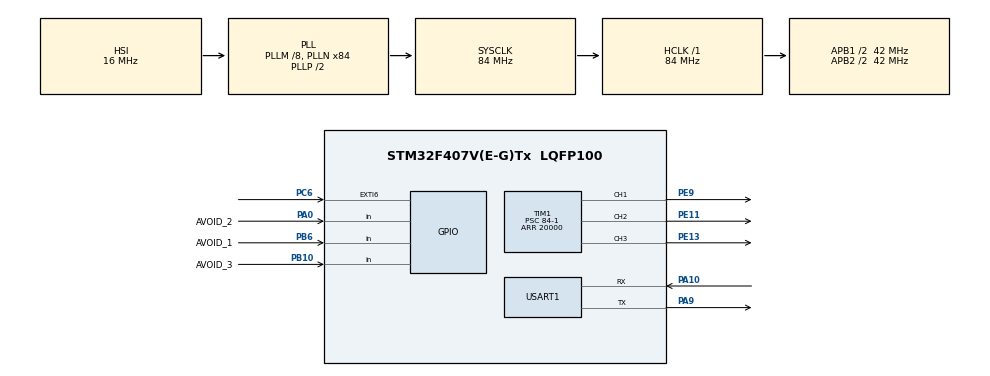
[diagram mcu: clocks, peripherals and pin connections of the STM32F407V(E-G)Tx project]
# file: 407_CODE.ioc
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Mcu.Family=STM32F4
Mcu.Name=STM32F407V(E-G)Tx
Mcu.Package=LQFP100
NVIC.EXTI9_5_IRQn=true\:0\:0\:false\:false\:true\:true\:true
NVIC.PriorityGroup=NVIC_PRIORITYGROUP_4
NVIC.TIM1_CC_IRQn=true\:0\:0\:false\:false\:true\:true\:true
NVIC.TIM1_TRG_COM_TIM11_IRQn=true\:0\:0\:false\:false\:true\:true\:true
NVIC.TIM2_IRQn=true\:0\:0\:false\:false\:true\:true\:true
NVIC.USART1_IRQn=true\:0\:0\:false\:false\:true\:true\:true
PA0-WKUP.GPIO_Label=AVOID_2
PA0-WKUP.GPIO_PuPd=GPIO_NOPULL
PA0-WKUP.Signal=GPIO_Input
PA10.Mode=Asynchronous
PA10.Signal=USART1_RX
PA13.Mode=Serial_Wire
PA13.Signal=SYS_JTMS-SWDIO
PA14.Mode=Serial_Wire
PA14.Signal=SYS_JTCK-SWCLK
PA9.Mode=Asynchronous
PA9.Signal=USART1_TX
PB10.GPIO_Label=AVOID_3
PB10.GPIO_PuPd=GPIO_PULLUP
PB10.Signal=GPIO_Input
PB6.GPIO_Label=AVOID_1
PB6.GPIO_PuPd=GPIO_PULLDOWN
PB6.Signal=GPIO_Input
PC6.GPIO_PuPd=GPIO_PULLDOWN
PC6.Signal=GPXTI6
PE11.Signal=S_TIM1_CH2
PE13.Signal=S_TIM1_CH3
PE9.Signal=S_TIM1_CH1
PH0-OSC_IN.Mode=HSE-External-Oscillator
PH0-OSC_IN.Signal=RCC_OSC_IN
PH1-OSC_OUT.Mode=HSE-External-Oscillator
PH1-OSC_OUT.Signal=RCC_OSC_OUT
ProjectManager.HeapSize=0x200
ProjectManager.StackSize=0x400
ProjectManager.TargetToolchain=MDK-ARM V5.27
RCC.48MHZClocksFreq_Value=42000000
RCC.AHBFreq_Value=84000000
RCC.APB1CLKDivider=RCC_HCLK_DIV2
RCC.APB1Freq_Value=42000000
RCC.APB1TimFreq_Value=84000000
RCC.APB2CLKDivider=RCC_HCLK_DIV2
RCC.APB2Freq_Value=42000000
RCC.APB2TimFreq_Value=84000000
RCC.CortexFreq_Value=84000000
RCC.HCLKFreq_Value=84000000
RCC.HSE_VALUE=8000000
RCC.HSI_VALUE=16000000
RCC.LSE_VALUE=32768
RCC.PLLM=8
RCC.PLLN=84
RCC.SYSCLKFreq_VALUE=84000000
RCC.SYSCLKSource=RCC_SYSCLKSOURCE_PLLCLK
RCC.VCOOutputFreq_Value=168000000
SH.S_TIM1_CH1.0=TIM1_CH1,PWM Generation1 CH1
SH.S_TIM1_CH2.0=TIM1_CH2,PWM Generation2 CH2
SH.S_TIM1_CH3.0=TIM1_CH3,PWM Generation3 CH3
TIM1.AutoReloadPreload=TIM_AUTORELOAD_PRELOAD_ENABLE
TIM1.Channel-PWM\ Generation1\ CH1=TIM_CHANNEL_1
TIM1.Channel-PWM\ Generation2\ CH2=TIM_CHANNEL_2
TIM1.Channel-PWM\ Generation3\ CH3=TIM_CHANNEL_3
TIM1.Period=20000
TIM1.Prescaler=84-1
TIM1.Pulse-PWM\ Generation1\ CH1=1500
TIM1.Pulse-PWM\ Generation2\ CH2=1500
TIM1.Pulse-PWM\ Generation3\ CH3=1500
TIM2.AutoReloadPreload=TIM_AUTORELOAD_PRELOAD_ENABLE
TIM2.Period=100-1
TIM2.Prescaler=84-1
USART1.VirtualMode=VM_ASYNC
VP_TIM2_VS_ClockSourceINT.Mode=Internal
board=custom

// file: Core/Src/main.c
/* USER CODE BEGIN Header */
/**
  ******************************************************************************
  * @file           : main.c
  * @brief          : Main program body
  ******************************************************************************
  * @attention
  *
  * <h2><center>&copy; Copyright (c) 2021 STMicroelectronics.
  * All rights reserved.</center></h2>
  *
  * This software component is licensed by ST under BSD 3-Clause license,
  * the "License"; You may not use this file except in compliance with the
  * License. You may obtain a copy of the License at:
  *                        opensource.org/licenses/BSD-3-Clause
  *
  ******************************************************************************
  */
/* USER CODE END Header */
#include "main.h"
#include "tim.h"
#include "usart.h"
#include "gpio.h"

/* USER CODE BEGIN PTD */

//手飞模式控制投放框状态机
typedef enum
{
	no_cmd = 0,
	first_block,
	first_block_done,
	second_block,
	second_block_done,
	third_block,
	third_block_done,
}Free_block;
/* USER CODE END PTD */

/* USER CODE BEGIN PD */
#define SEVO_CLOSE        TIM1->CCR1 = 1500			//舵机停转
#define SEVO_OPEN_LEFT	  TIM1->CCR1 = 1000   		//舵机左转
#define SEVO_OPEN_RIGHT	  TIM1->CCR1 = 2000			//舵机右转
#define ROTATE_TIME		  10						//时间单位是100us,舵机旋转的时间是 100*ROTATE_TIME(us)

/* USER CODE END PD */

void SystemClock_Config(void);

/* USER CODE BEGIN 0 */
uint8_t cmd[4]={0};
uint8_t block_state = no_cmd;
uint8_t flag[3]={0};
uint8_t trig_flag = 0;
int32_t rotate_time = 0;
//设置舵机当前的控制指令
void set_block_control()
{

	//不打开投放框
	 if(block_state == no_cmd)
	{
		SEVO_CLOSE;				//舵机停转状态
	}
	//打开第一个投放框
	else if(block_state == first_block)
	{
		if( rotate_time >0)			//更改rotate_time的转载时间改变舵机旋转的角度
			SEVO_OPEN_RIGHT;		//在投放1状态下，在固定的时间内旋转舵机
		else
		{
			block_state = first_block_done;
		}
	}
	//第一个投放框投放结束
	else if(block_state == first_block_done)
	{
		SEVO_CLOSE;

	}
	//打开第二个投放框
	else if(block_state == second_block)
	{
		if( rotate_time >0)			//更改rotate_time的转载时间改变舵机旋转的角度
			SEVO_OPEN_RIGHT;		//在投放1状态下，在固定的时间内旋转舵机
		else
		{
			block_state = second_block_done;
		}
	}
	//第二个投放框投放结束
	else if(block_state == second_block_done)
	{
		SEVO_CLOSE;
	}
	//打开第三个投放框
	else if(block_state == third_block)
	{
		if( rotate_time >0)			//更改rotate_time的转载时间改变舵机旋转的角度
			SEVO_OPEN_RIGHT;		//在投放1状态下，在固定的时间内旋转舵机
		else
		{
			block_state = third_block_done;
		}
	}
	else if(block_state == third_block_done)
	{
		SEVO_CLOSE;
	}

	/*if ( (block_state == first_block) && (rotate_time <= 0) )
		block_state = first_block_done;
	else if( (block_state == second_block) && (rotate_time <= 0) )
		block_state = second_block_done;
	else if( (block_state == third_block) && (rotate_time <= 0) )
		block_state = third_block_done;*/

}

/* USER CODE END 0 */

int main(void)
{

  /* MCU Configuration--------------------------------------------------------*/

  /* Reset of all peripherals, Initializes the Flash interface and the Systick. */
  HAL_Init();

  /* Configure the system clock */
  SystemClock_Config();

  /* Initialize all configured peripherals */
  MX_GPIO_Init();
  MX_TIM1_Init();
  MX_USART1_UART_Init();
  MX_TIM2_Init();
  /* USER CODE BEGIN 2 */
HAL_TIM_PWM_Start(&htim1, TIM_CHANNEL_1);			//使能打开PWM输出通道
HAL_TIM_PWM_Start(&htim1, TIM_CHANNEL_2);
HAL_TIM_PWM_Start(&htim1, TIM_CHANNEL_3);

HAL_TIM_Base_Start(&htim1);
HAL_TIM_Base_Start(&htim2);
HAL_Delay(800);
  /* USER CODE END 2 */

  /* Infinite loop */
  while (1)
  {

    /* USER CODE BEGIN 3 */
	set_block_control();		 //设置投放物投放指令
  }
  /* USER CODE END 3 */
}

void SystemClock_Config(void)
{
  RCC_OscInitTypeDef RCC_OscInitStruct = {0};
  RCC_ClkInitTypeDef RCC_ClkInitStruct = {0};

  /** Configure the main internal regulator output voltage
  */
  __HAL_RCC_PWR_CLK_ENABLE();
  __HAL_PWR_VOLTAGESCALING_CONFIG(PWR_REGULATOR_VOLTAGE_SCALE1);
  /** Initializes the RCC Oscillators according to the specified parameters
  * in the RCC_OscInitTypeDef structure.
  */
  RCC_OscInitStruct.OscillatorType = RCC_OSCILLATORTYPE_HSI;
  RCC_OscInitStruct.HSIState = RCC_HSI_ON;
  RCC_OscInitStruct.HSICalibrationValue = RCC_HSICALIBRATION_DEFAULT;
  RCC_OscInitStruct.PLL.PLLState = RCC_PLL_ON;
  RCC_OscInitStruct.PLL.PLLSource = RCC_PLLSOURCE_HSI;
  RCC_OscInitStruct.PLL.PLLM = 8;
  RCC_OscInitStruct.PLL.PLLN = 84;
  RCC_OscInitStruct.PLL.PLLP = RCC_PLLP_DIV2;
  RCC_OscInitStruct.PLL.PLLQ = 4;
  if (HAL_RCC_OscConfig(&RCC_OscInitStruct) != HAL_OK)
  {
    Error_Handler();
  }
  /** Initializes the CPU, AHB and APB buses clocks
  */
  RCC_ClkInitStruct.ClockType = RCC_CLOCKTYPE_HCLK|RCC_CLOCKTYPE_SYSCLK
                              |RCC_CLOCKTYPE_PCLK1|RCC_CLOCKTYPE_PCLK2;
  RCC_ClkInitStruct.SYSCLKSource = RCC_SYSCLKSOURCE_PLLCLK;
  RCC_ClkInitStruct.AHBCLKDivider = RCC_SYSCLK_DIV1;
  RCC_ClkInitStruct.APB1CLKDivider = RCC_HCLK_DIV2;
  RCC_ClkInitStruct.APB2CLKDivider = RCC_HCLK_DIV2;

  if (HAL_RCC_ClockConfig(&RCC_ClkInitStruct, FLASH_LATENCY_2) != HAL_OK)
  {
    Error_Handler();
  }
}

/* USER CODE BEGIN 4 */
void HAL_GPIO_EXTI_Callback(uint16_t GPIO_Pin)
{
	int i;
    for(i=0;i<1000;i++);	//延时一段时间消抖，不能用HAL_DELAY,防止程序卡死在该回调函数中
	while(!HAL_GPIO_ReadPin(GPIOC,GPIO_PIN_6));		//如果电平没有发生改变，则阻塞在当前进程，状态不进行更新，直到完整的控制信号发出才更新状态

	if(block_state == third_block_done)
	{
		block_state = no_cmd;		//由投放框状态进入无命令状态时，不触发模拟边沿跳变
		flag[0] = 0;
		flag[1] = 0;
		flag[2] = 0;

	}
	else if ((block_state == second_block_done) && (flag[2] == 0) && trig_flag == 0)
	{
		block_state = third_block;
		trig_flag = 1;				//投放框状态的切换过程中会触发模拟边沿跳变
		flag[2] = 1;

	}
	else if ((block_state == first_block_done) && (flag[1] == 0) && trig_flag == 0)
	{
		block_state = second_block;
		trig_flag = 1;				//投放框状态的切换过程中会触发模拟边沿跳变
		flag[1] = 1;

	}
	else if ((block_state == no_cmd) && (flag[0] == 0) && trig_flag == 0)
	{
		block_state = first_block;
		trig_flag = 1;				//投放框状态的切换过程中会触发模拟边沿跳变
		flag[0] = 1;				//更新当前投放标志，不再进入该判断，防止重复刷新标志位
	}

}

void HAL_TIM_PeriodElapsedCallback(TIM_HandleTypeDef *htim)
{
	if(htim == &htim2)		//当定时器2触发中断之后，进入中断回调函数，更新当前的旋转时间刻度
	{
		if(trig_flag == 1)	//在外部中断中更新中断出发标志位，模拟边沿触发
		{
			trig_flag = 0;  //表征边沿触发结束，防止反复重装载时间
			rotate_time = ROTATE_TIME;		//重装载模拟定时器时间，刻度为10
		}
		rotate_time--;		//每100us进行一次减法，表征已经过了100us

		if(rotate_time <= -100)
			rotate_time = -10;		//将旋转时间牵制在低位数字，防止变量溢出

	}

}
/* USER CODE END 4 */

void Error_Handler(void)
{
  __disable_irq();
  while (1)
  {
  }
}

/************************ (C) COPYRIGHT STMicroelectronics *****END OF FILE****/
